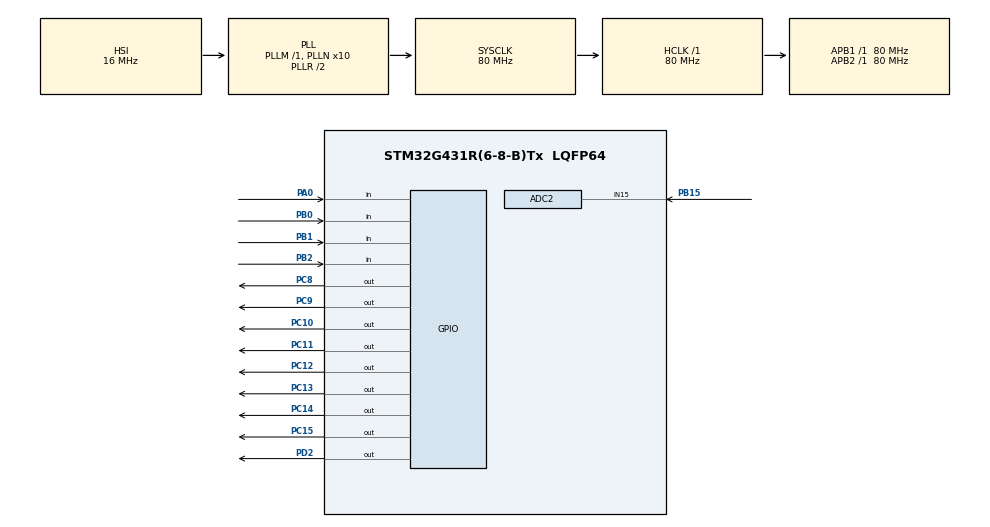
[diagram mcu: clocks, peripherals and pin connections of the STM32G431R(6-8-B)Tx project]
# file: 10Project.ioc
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ADC2.Channel-0\#ChannelRegularConversion=ADC_CHANNEL_15
ADC2.NbrOfConversionFlag=1
ADC2.OffsetNumber-0\#ChannelRegularConversion=ADC_OFFSET_NONE
ADC2.Rank-0\#ChannelRegularConversion=1
ADC2.SamplingTime-0\#ChannelRegularConversion=ADC_SAMPLETIME_2CYCLES_5
Mcu.Family=STM32G4
Mcu.Name=STM32G431R(6-8-B)Tx
Mcu.Package=LQFP64
NVIC.ADC1_2_IRQn=true\:0\:0\:false\:false\:true\:true\:true
NVIC.PriorityGroup=NVIC_PRIORITYGROUP_4
PA0.Signal=GPIO_Input
PA13.Mode=Serial_Wire
PA13.Signal=SYS_JTMS-SWDIO
PA14.Mode=Serial_Wire
PA14.Signal=SYS_JTCK-SWCLK
PB0.Signal=GPIO_Input
PB1.Signal=GPIO_Input
PB15.Mode=IN15-Single-Ended
PB15.Signal=ADC2_IN15
PB2.Signal=GPIO_Input
PC10.Signal=GPIO_Output
PC11.Signal=GPIO_Output
PC12.Signal=GPIO_Output
PC13.Signal=GPIO_Output
PC14-OSC32_IN.Signal=GPIO_Output
PC15-OSC32_OUT.Signal=GPIO_Output
PC8.Signal=GPIO_Output
PC9.Signal=GPIO_Output
PD2.Signal=GPIO_Output
PF0-OSC_IN.Mode=HSE-External-Oscillator
PF0-OSC_IN.Signal=RCC_OSC_IN
PF1-OSC_OUT.Mode=HSE-External-Oscillator
PF1-OSC_OUT.Signal=RCC_OSC_OUT
ProjectManager.HeapSize=0x200
ProjectManager.StackSize=0x400
ProjectManager.TargetToolchain=MDK-ARM V5
RCC.ADC12Freq_Value=80000000
RCC.AHBFreq_Value=80000000
RCC.APB1Freq_Value=80000000
RCC.APB1TimFreq_Value=80000000
RCC.APB2Freq_Value=80000000
RCC.APB2TimFreq_Value=80000000
RCC.CortexFreq_Value=80000000
RCC.EXTERNAL_CLOCK_VALUE=12288000
RCC.HCLKFreq_Value=80000000
RCC.HSE_VALUE=24000000
RCC.HSI48_VALUE=48000000
RCC.HSI_VALUE=16000000
RCC.LSE_VALUE=32768
RCC.PLLN=10
RCC.SYSCLKFreq_VALUE=80000000
RCC.SYSCLKSource=RCC_SYSCLKSOURCE_PLLCLK
RCC.USBFreq_Value=80000000
RCC.VCOOutputFreq_Value=160000000
VP_SYS_VS_DBSignals.Mode=DisableDeadBatterySignals
board=custom

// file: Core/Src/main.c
/* USER CODE BEGIN Header */
/**
  ******************************************************************************
  * @file           : main.c
  * @brief          : Main program body
  ******************************************************************************
  * @attention
  *
  * <h2><center>&copy; Copyright (c) 2023 STMicroelectronics.
  * All rights reserved.</center></h2>
  *
  * This software component is licensed by ST under BSD 3-Clause license,
  * the "License"; You may not use this file except in compliance with the
  * License. You may obtain a copy of the License at:
  *                        opensource.org/licenses/BSD-3-Clause
  *
  ******************************************************************************
  */
/* USER CODE END Header */
#include "main.h"
#include "adc.h"
#include "gpio.h"

/* USER CODE BEGIN Includes */
#include "lcd.h"
#include "i2c_hal.h"
#include "stdio.h"
#include "string.h"

/* USER CODE END Includes */

/* USER CODE BEGIN PD */

#define KEY1 HAL_GPIO_ReadPin(GPIOB,GPIO_PIN_0)
#define KEY2 HAL_GPIO_ReadPin(GPIOB,GPIO_PIN_1)
#define KEY3 HAL_GPIO_ReadPin(GPIOB,GPIO_PIN_2)
#define KEY4 HAL_GPIO_ReadPin(GPIOA,GPIO_PIN_0)
/* USER CODE END PD */

/* USER CODE BEGIN PV */
//key
u8 key_val,key_down,key_up,key_old;

//lcd
u8 sta_lcd;
u8 ptr[30];
__IO uint32_t uwTick_Led_Set_Point = 0;
__IO uint32_t uwTick_Led_Set_Point1 = 0;
//led
u8 led_in;
u8 key_uu;
u8 start1, start2;
u8 flag_u;
u8 state;
u8 first;

u8 uled = 0, lled = 1;

uint16_t LED_Arr[9]={0x01,0x02,0x04,0x08,0x10,0x20,0x40,0x80};

double MaxStadVol = 2.4;
double MinStadVOl = 1.2;

double ao2;
double Vol = 3.22;
double MaxVol = 2.4;
double MinVOl = 1.2;
/* USER CODE END PV */

void SystemClock_Config(void);

/* USER CODE BEGIN 0 */

uint8_t x24c02_read(uint8_t address)
{
	unsigned char val;

	I2CStart();
	I2CSendByte(0xa0);
	I2CWaitAck();

	I2CSendByte(address);
	I2CWaitAck();

	I2CStart();
	I2CSendByte(0xa1);
	I2CWaitAck();
	val = I2CReceiveByte();
	I2CWaitAck();
	I2CStop();

	return(val);
}

//向24C02写数据
void x24c02_write(unsigned char address,unsigned char info)
{
	I2CStart();
	I2CSendByte(0xa0);
	I2CWaitAck();

	I2CSendByte(address);
	I2CWaitAck();
	I2CSendByte(info);
	I2CWaitAck();
	I2CStop();
	HAL_Delay(10);
}

u8 key_scan()
{
	if((KEY1 == 0)||(KEY2 == 0)||(KEY3 == 0)||(KEY4 == 0))
	{
		HAL_Delay(10);
		if(KEY1 == 0) return 1;
		else if(KEY2 == 0) return 2;
		else if(KEY3 == 0) return 3;
		else if(KEY4 == 0) return 4;
	}return 0;
}

void led_dis(u8 led)
{
	HAL_GPIO_WritePin(GPIOC,0xff00,GPIO_PIN_SET);
	HAL_GPIO_WritePin(GPIOD,GPIO_PIN_2,GPIO_PIN_SET);
	HAL_GPIO_WritePin(GPIOD,GPIO_PIN_2,GPIO_PIN_RESET);

	HAL_GPIO_WritePin(GPIOC,led<<8,GPIO_PIN_RESET);
	HAL_GPIO_WritePin(GPIOD,GPIO_PIN_2,GPIO_PIN_SET);
	HAL_GPIO_WritePin(GPIOD,GPIO_PIN_2,GPIO_PIN_RESET);
}

void key_Proc()
{
	key_val = key_scan();
	key_down = key_val&(key_val^key_old);
	key_up = ~key_val&(key_val^key_old);
	key_old = key_val;

	switch (key_up)
  {
  	case 1:
		{
			sta_lcd = !sta_lcd;
			LCD_Clear(Black);
  		break;
		}
		case 2:
		{
			if(sta_lcd)
			{
				key_uu ++;
				if(key_uu == 4)
					key_uu = 0;
			}
  		break;
		}
		case 3:
		{
			if(sta_lcd)
			{
				if(key_uu == 0) //高电压
				{
					MaxVol = MaxVol+0.3;
					if(MaxVol > 3.300000000000001)
					{
						MaxVol=3.3;
					}
					x24c02_write(0x01, MaxVol * 10);
				}else if(key_uu == 1) //低电压
				{
					MinVOl = MinVOl+0.3;
					if(MinVOl > 3.300000000000001)
					{
						MinVOl=3.3;
					}
					x24c02_write(0x02, MinVOl * 10);
				}
				else if(key_uu == 2) //Uper
				{
					led_in &= 0x00;
					if(uled == 7)
						return;

					if(uled + 1 == lled)
					{
						if(uled + 2 <= 7)
						{
							uled = uled + 2;
						}
					}else
						uled ++;
						x24c02_write(0x03, uled);

				}else
				{
					led_in &= 0x00;
					if(lled == 7)
						return;

					if(lled + 1 == uled)
					{
						if(lled + 2 <= 7)
						{
							lled = lled + 2;
						}
					}else
						lled ++;
					x24c02_write(0x04, lled);
				}
			}
  		break;
		}
		case 4:
		{
			if(sta_lcd)
			{
				if(key_uu == 0) //高电压
				{
					MaxVol = MaxVol - 0.3;
					if(MaxVol < 0.000000000000001)
					{
						MaxVol=0;
					}
					x24c02_write(0x01, MaxVol * 10);
				}else if(key_uu == 1) //高电压
				{
					MinVOl = MinVOl - 0.3;
					if(MinVOl < 0.000000000000001)
					{
						MinVOl=0;
					}
					x24c02_write(0x02, MinVOl * 10);
				}
				else if(key_uu == 2) //Uper
				{
					led_in &= 0x00;
					if(uled == 0)
						return;

					if(uled - 1 == lled)
					{
						if(uled - 2 >= 0)
						{
							uled = uled - 2;
						}
					}else
						uled --;
					x24c02_write(0x03, uled);
				}else
				{
					led_in &= 0x00;
					if(lled == 0)
						return;

					if(lled - 1 == uled)
					{
						if(lled - 2 >= 0)
						{
							lled = lled - 2;
						}
					}else
						lled --;
					x24c02_write(0x04, lled);
				}
			}
  		break;
		}
  }
}

void work_Proc()
{
	uint16_t adc2 = 0;
	HAL_ADC_Start(&hadc2);
	adc2 = HAL_ADC_GetValue(&hadc2);
	ao2 = adc2*3.3f/4096;

	if(ao2 < MinVOl)
	{
		if(first != 1)
		{
			uwTick_Led_Set_Point = uwTick;
		}
		first = 1;
		state = 2;

	}else if(ao2 > MaxVol)
	{
		if(first != 1)
		{
			uwTick_Led_Set_Point = uwTick;
		}
		first = 1;
		state = 1;
	}else
	{
		led_in &= 0x00;
		first = 0;
		state = 0;
	}

}

void led_Proc()
{
	if((uwTick - uwTick_Led_Set_Point) > 200)
	{
		if((uwTick - uwTick_Led_Set_Point1) < 200)
			return;
		uwTick_Led_Set_Point1 = uwTick;

		if(state == 2)
			led_in ^= LED_Arr[lled];
		else if(state == 1)
			led_in ^= LED_Arr[uled];
		else if(state == 0)
			led_in &= 0x00;
	}

	led_dis(led_in);

	/*if((uwTick -  uwTick_Led_Set_Point) < 200)
		return;

	uwTick_Led_Set_Point = uwTick;

	if(ao2 < MinVOl)
	{
		uwTick_Led_Set_Point = uwTick;
		led_in ^= LED_Arr[lled];
		state = 2;

	}else if(ao2 > MaxVol)
	{
		led_in ^= LED_Arr[uled];
		state = 1;
	}else
	{
		led_in &= 0x00;
		state = 0;
	}
	led_dis(led_in);*/

}

void lcd_Proc()
{
	if(!sta_lcd)
	{
		sprintf((char*)ptr,"      Main");
		LCD_DisplayStringLine(Line0,(u8*)ptr);
		sprintf((char*)ptr,"   Vole:%.2f", ao2);
		LCD_DisplayStringLine(Line3,(u8*)ptr);

		if(state == 0)
		{
			sprintf((char*)ptr,"      Normal");
			LCD_DisplayStringLine(Line4,(u8*)ptr);
		}else if(state == 1)
		{
			sprintf((char*)ptr,"      Upper ");
			LCD_DisplayStringLine(Line4,(u8*)ptr);
		}else if(state == 2)
		{
			sprintf((char*)ptr,"      Lower ");
			LCD_DisplayStringLine(Line4,(u8*)ptr);
		}
	}else{
		sprintf((char*)ptr,"      Setting");
		LCD_DisplayStringLine(Line0,(u8*)ptr);
		if(key_uu == 0)
		{
			LCD_SetBackColor (Green);
			sprintf((char*)ptr,"  Max Volt:%.1f", MaxVol);
			LCD_DisplayStringLine(Line4,(u8*)ptr);
			LCD_SetBackColor (Black);
		}else
		{
			sprintf((char*)ptr,"  Max Volt:%.1f", MaxVol);
			LCD_DisplayStringLine(Line4,(u8*)ptr);
		}
		if(key_uu == 1)
		{
			LCD_SetBackColor (Green);
			sprintf((char*)ptr,"  Max Volt:%.1f", MinVOl);
			LCD_DisplayStringLine(Line5,(u8*)ptr);
			LCD_SetBackColor (Black);
		}else
		{
			sprintf((char*)ptr,"  Max Volt:%.1f", MinVOl);
			LCD_DisplayStringLine(Line5,(u8*)ptr);
		}
		if(key_uu == 2)
		{
			LCD_SetBackColor (Green);
			sprintf((char*)ptr,"  Upper:LD%d", uled);
			LCD_DisplayStringLine(Line6,(u8*)ptr);
			LCD_SetBackColor (Black);
		}
		else
		{
			sprintf((char*)ptr,"  Upper:LD%d", uled);
			LCD_DisplayStringLine(Line6,(u8*)ptr);
		}
		if(key_uu == 3)
		{
			LCD_SetBackColor (Green);
			sprintf((char*)ptr,"  Lpper:LD%d", lled);
			LCD_DisplayStringLine(Line7,(u8*)ptr);
			LCD_SetBackColor (Black);
		}else
		{
			sprintf((char*)ptr,"  Lpper:LD%d", lled);
			LCD_DisplayStringLine(Line7,(u8*)ptr);
		}
	}
}

/* USER CODE END 0 */

int main(void)
{

  /* MCU Configuration--------------------------------------------------------*/

  /* Reset of all peripherals, Initializes the Flash interface and the Systick. */
  HAL_Init();

  /* Configure the system clock */
  SystemClock_Config();

  /* Initialize all configured peripherals */
  MX_GPIO_Init();
  MX_ADC2_Init();
  /* USER CODE BEGIN 2 */
	LCD_Init();
	LCD_Clear(Black);
	led_dis(0x00);
	LCD_SetBackColor(Black);
	LCD_SetTextColor(White);
	I2CInit();

	start1 = x24c02_read(0x00);

	x24c02_write(0x00, 0x33);

	if(start1 == 0x33)
	{
		MaxVol = x24c02_read(0x01);
		MaxVol = MaxVol / 10.0f;
		MinVOl = x24c02_read(0x02);
		MinVOl = MinVOl / 10.0f;
		uled = x24c02_read(0x03);
		lled = x24c02_read(0x04);
	}else
	{
		x24c02_write(0x01, MaxVol * 10);
		x24c02_write(0x02, MinVOl * 10);
		x24c02_write(0x03, uled);
		x24c02_write(0x04, lled);
	}

  /* USER CODE END 2 */

  /* Infinite loop */
  while (1)
  {

    /* USER CODE BEGIN 3 */
		key_Proc();
		led_Proc();
		lcd_Proc();
		work_Proc();
  }
  /* USER CODE END 3 */
}

void SystemClock_Config(void)
{
  RCC_OscInitTypeDef RCC_OscInitStruct = {0};
  RCC_ClkInitTypeDef RCC_ClkInitStruct = {0};
  RCC_PeriphCLKInitTypeDef PeriphClkInit = {0};

  /** Configure the main internal regulator output voltage
  */
  HAL_PWREx_ControlVoltageScaling(PWR_REGULATOR_VOLTAGE_SCALE1);
  /** Initializes the RCC Oscillators according to the specified parameters
  * in the RCC_OscInitTypeDef structure.
  */
  RCC_OscInitStruct.OscillatorType = RCC_OSCILLATORTYPE_HSI;
  RCC_OscInitStruct.HSIState = RCC_HSI_ON;
  RCC_OscInitStruct.HSICalibrationValue = RCC_HSICALIBRATION_DEFAULT;
  RCC_OscInitStruct.PLL.PLLState = RCC_PLL_ON;
  RCC_OscInitStruct.PLL.PLLSource = RCC_PLLSOURCE_HSI;
  RCC_OscInitStruct.PLL.PLLM = RCC_PLLM_DIV1;
  RCC_OscInitStruct.PLL.PLLN = 10;
  RCC_OscInitStruct.PLL.PLLP = RCC_PLLP_DIV2;
  RCC_OscInitStruct.PLL.PLLQ = RCC_PLLQ_DIV2;
  RCC_OscInitStruct.PLL.PLLR = RCC_PLLR_DIV2;
  if (HAL_RCC_OscConfig(&RCC_OscInitStruct) != HAL_OK)
  {
    Error_Handler();
  }
  /** Initializes the CPU, AHB and APB buses clocks
  */
  RCC_ClkInitStruct.ClockType = RCC_CLOCKTYPE_HCLK|RCC_CLOCKTYPE_SYSCLK
                              |RCC_CLOCKTYPE_PCLK1|RCC_CLOCKTYPE_PCLK2;
  RCC_ClkInitStruct.SYSCLKSource = RCC_SYSCLKSOURCE_PLLCLK;
  RCC_ClkInitStruct.AHBCLKDivider = RCC_SYSCLK_DIV1;
  RCC_ClkInitStruct.APB1CLKDivider = RCC_HCLK_DIV1;
  RCC_ClkInitStruct.APB2CLKDivider = RCC_HCLK_DIV1;

  if (HAL_RCC_ClockConfig(&RCC_ClkInitStruct, FLASH_LATENCY_2) != HAL_OK)
  {
    Error_Handler();
  }
  /** Initializes the peripherals clocks
  */
  PeriphClkInit.PeriphClockSelection = RCC_PERIPHCLK_ADC12;
  PeriphClkInit.Adc12ClockSelection = RCC_ADC12CLKSOURCE_SYSCLK;
  if (HAL_RCCEx_PeriphCLKConfig(&PeriphClkInit) != HAL_OK)
  {
    Error_Handler();
  }
}

void Error_Handler(void)
{
  __disable_irq();
  while (1)
  {
  }
}

/************************ (C) COPYRIGHT STMicroelectronics *****END OF FILE****/
